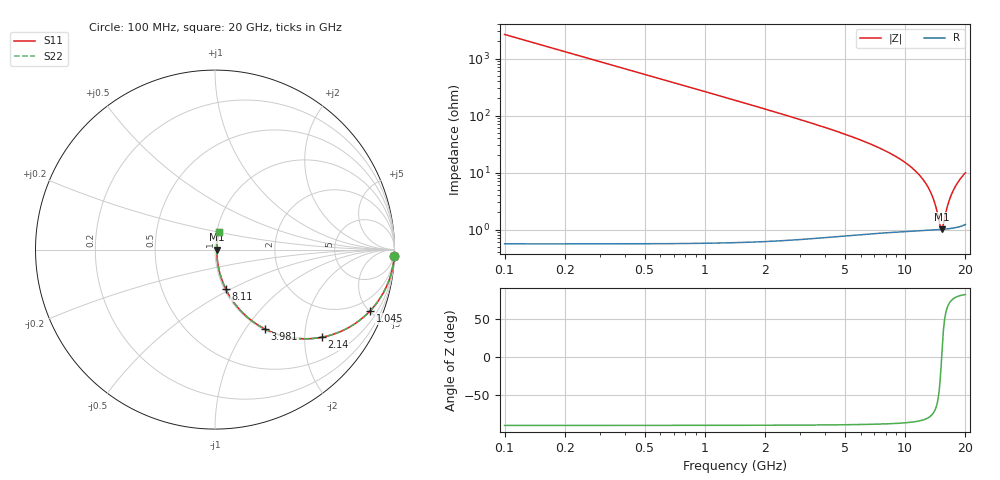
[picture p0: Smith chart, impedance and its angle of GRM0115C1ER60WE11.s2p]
!Murata Part Number: GRM0115C1ER60WE11
!These Parameters are Measured in Series Mode Connection
!Data Generated on Mar 30, 2021
!  o--ll--o
!Port1  Port2
!  o------o
!Operation Temp=25[degC], DC Bias Voltage=0[V]
!Freq. Start=100[MHz] Stop=20[GHz] 401[Steps]
# Hz S RI R 50
!Freq.(Hz) S11(Real) S11(Imag) S21(Real) S21(Imag) S12(Real) S12(Imag) S22(Real) S22(Imag)
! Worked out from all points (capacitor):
!   401 points, 100 MHz to 20 GHz, reference 50 ohm
!   read as one part in series: C = 600 fF near 199.5 MHz
!   lowest |Z| = 1.01 ohm at 15.22 GHz (marker M1)
!   series resonance near 15.21 GHz, so ESL is about 180 pH
!   S11 on the Smith chart (normalised r, x): 100 MHz: 1, -53; 1.045 GHz: 1.01, -5.05; 2.14 GHz: 1.01, -2.43; 3.981 GHz: 1.01, -1.24; 8.11 GHz: 1.02, -0.47; 20 GHz: 1.02, +0.20
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1e8  0.9986 -0.0376  0.00143 0.0376  0.00143 0.0376  0.9986 -0.0376
2.99e8  0.9874 -0.1113  0.0126 0.1113  0.0126 0.1113  0.9874 -0.1113
4.4825e8  0.972 -0.1644  0.028 0.1644  0.028 0.1644  0.972 -0.1644
6.97e8  0.9348 -0.2461  0.0652 0.2461  0.0652 0.2461  0.9348 -0.2461
1.04525e9  0.8639 -0.3418  0.1361 0.3418  0.1361 0.3418  0.8639 -0.3418
1.54275e9  0.7424 -0.4356  0.2576 0.4356  0.2576 0.4356  0.7424 -0.4356
2.13975e9  0.5953 -0.4883  0.4047 0.4883  0.4047 0.4883  0.5953 -0.4883
3.43325e9  0.3501 -0.4723  0.6499 0.4723  0.6499 0.4723  0.3501 -0.4723
3.9805e9  0.2795 -0.443  0.7205 0.443  0.7205 0.443  0.2795 -0.443
6.7665e9  0.0957 -0.281  0.9043 0.281  0.9043 0.281  0.0957 -0.281
8.10975e9  0.0591 -0.2177  0.9409 0.2177  0.9409 0.2177  0.0591 -0.2177
1.005e10  0.0301 -0.1426  0.9699 0.1426  0.9699 0.1426  0.0301 -0.1426
1.199025e10  0.0162 -0.0816  0.9838 0.0816  0.9838 0.0816  0.0162 -0.0816
1.338325e10  0.0116 -0.0439  0.9884 0.0439  0.9884 0.0439  0.0116 -0.0439
1.407975e10  0.0105 -0.0266  0.9895 0.0266  0.9895 0.0266  0.0105 -0.0266
1.497525e10  0.00995 -0.00543  0.99 0.00543  0.99 0.00543  0.00995 -0.00543
1.5224e10  0.00997 0.000217  0.99 -0.000217  0.99 -0.000217  0.00997 0.000217
1.5423e10  0.01 0.00467  0.99 -0.00467  0.99 -0.00467  0.01 0.00467
1.616925e10  0.0106 0.0209  0.9894 -0.0209  0.9894 -0.0209  0.0106 0.0209
1.67165e10  0.0114 0.0324  0.9886 -0.0324  0.9886 -0.0324  0.0114 0.0324
1.805975e10  0.0143 0.0593  0.9857 -0.0593  0.9857 -0.0593  0.0143 0.0593
2e10  0.0214 0.0954  0.9786 -0.0954  0.9786 -0.0954  0.0214 0.0954
